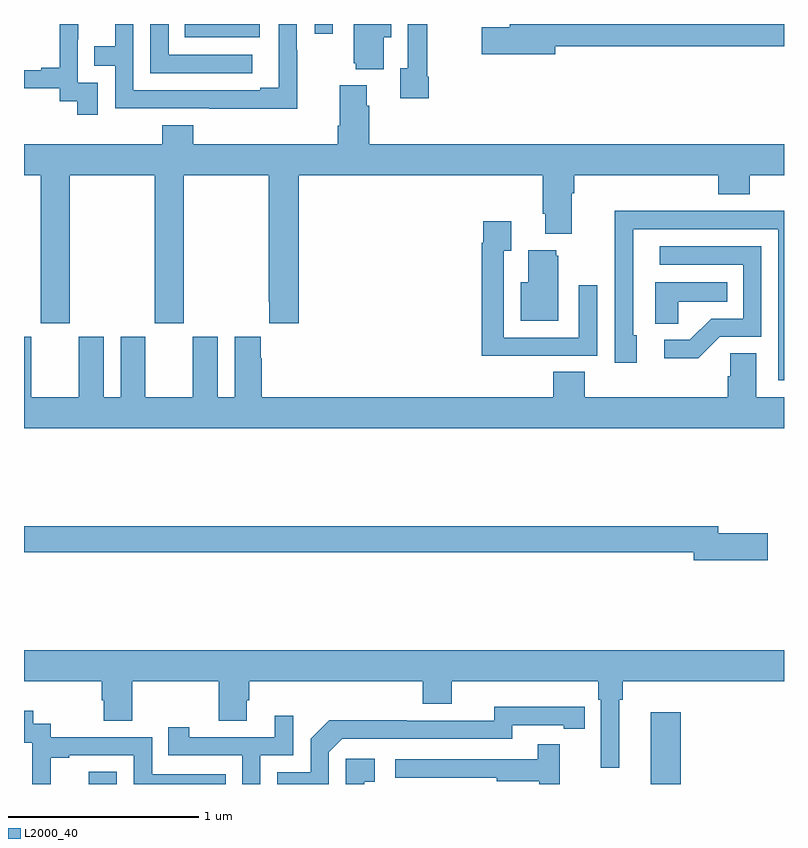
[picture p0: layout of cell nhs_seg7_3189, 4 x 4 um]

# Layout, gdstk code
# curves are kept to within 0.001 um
import gdstk
lib = gdstk.Library(unit=1e-6, precision=1e-09)
def R(c, l, rs):  # rectangles x0, y0, x1, y1
    for r in rs: c.add(gdstk.rectangle(r[:2], r[2:], *l))
def P(c, l, *ps):  # polygons
    for p in ps: c.add(gdstk.Polygon(p, *l))
L2000_40 = (2000, 40)

nhs_seg7_3189 = lib.new_cell('nhs_seg7_3189')
R(nhs_seg7_3189, L2000_40, [(313.341,1076,313.488,1076.065), (316.298,1076,316.457,1076.377), (313.846,1079.93,314.242,1080), (314.529,1079.949,314.625,1080)])
P(nhs_seg7_3189, L2000_40, [(314.893,1079.93),(314.932,1079.93),(314.932,1080),(314.735,1080),(314.735,1079.793),(314.747,1079.793),(314.747,1079.762),(314.893,1079.762)],
  [(313.389,1079.691),(313.284,1079.691),(313.284,1079.921),(313.286,1079.921),(313.286,1080),(313.187,1080),(313.187,1079.77),(313.091,1079.77),(313.091,1079.757),(313,1079.757),(313,1079.661),(313.188,1079.661),(313.188,1079.593),(313.281,1079.593),(313.281,1079.523),(313.389,1079.523)],
  [(314.2,1079.838),(313.761,1079.838),(313.761,1080),(313.665,1080),(313.665,1079.742),(314.2,1079.742)],
  [(314.439,1079.861),(314.436,1079.861),(314.436,1080),(314.34,1080),(314.34,1079.665),(314.243,1079.665),(314.243,1079.652),(313.575,1079.652),(313.575,1080),(313.479,1080),(313.479,1079.882),(313.369,1079.882),(313.369,1079.781),(313.479,1079.781),(313.479,1079.556),(313.975,1079.556),(313.975,1079.555),(314.439,1079.555)],
  [(315.13,1079.722),(315.122,1079.722),(315.122,1080),(315.021,1080),(315.021,1079.766),(314.981,1079.766),(314.981,1079.61),(315.13,1079.61)],
  [(315.796,1079.884),(317,1079.884),(317,1080),(315.557,1080),(315.557,1079.984),(315.408,1079.984),(315.408,1079.842),(315.796,1079.842)],
  [(313.242,1079.204),(313.687,1079.204),(313.687,1078.425),(313.842,1078.425),(313.842,1079.204),(314.287,1079.204),(314.287,1078.537),(314.291,1078.537),(314.291,1078.425),(314.447,1078.425),(314.447,1079.204),(315.731,1079.204),(315.731,1079.002),(315.743,1079.002),(315.743,1078.895),(315.883,1078.895),(315.883,1079.108),(315.896,1079.108),(315.896,1079.204),(316.655,1079.204),(316.655,1079.105),(316.82,1079.105),(316.82,1079.204),(317,1079.204),(317,1079.368),(314.816,1079.368),(314.816,1079.57),(314.803,1079.57),(314.803,1079.677),(314.663,1079.677),(314.663,1079.464),(314.651,1079.464),(314.651,1079.368),(313.892,1079.368),(313.892,1079.467),(313.727,1079.467),(313.727,1079.368),(313,1079.368),(313,1079.204),(313.087,1079.204),(313.087,1078.425),(313.242,1078.425)],
  [(317,1079.016),(316.571,1079.016),(316.571,1079.018),(316.108,1079.018),(316.108,1078.711),(316.11,1078.711),(316.11,1078.218),(316.225,1078.218),(316.225,1078.362),(316.206,1078.362),(316.206,1078.92),(316.971,1078.92),(316.971,1078.125),(317,1078.125)],
  [(315.701,1078.254),(316.017,1078.254),(316.017,1078.624),(315.921,1078.624),(315.921,1078.35),(315.525,1078.35),(315.525,1078.807),(315.565,1078.807),(315.565,1078.963),(315.417,1078.963),(315.417,1078.85),(315.409,1078.85),(315.409,1078.253),(315.701,1078.253)],
  [(316.662,1078.353),(316.881,1078.353),(316.881,1078.83),(316.347,1078.83),(316.347,1078.734),(316.785,1078.734),(316.785,1078.449),(316.616,1078.449),(316.505,1078.338),(316.371,1078.338),(316.371,1078.241),(316.549,1078.241)],
  [(315.811,1078.779),(315.8,1078.779),(315.8,1078.81),(315.653,1078.81),(315.653,1078.642),(315.614,1078.642),(315.614,1078.439),(315.811,1078.439)],
  [(316.443,1078.538),(316.7,1078.538),(316.7,1078.642),(316.322,1078.642),(316.322,1078.423),(316.443,1078.423)],
  [(317,1078.036),(316.855,1078.036),(316.855,1078.268),(316.716,1078.268),(316.716,1078.145),(316.703,1078.145),(316.703,1078.036),(315.95,1078.036),(315.95,1078.169),(315.785,1078.169),(315.785,1078.036),(314.252,1078.036),(314.252,1078.241),(314.245,1078.241),(314.245,1078.354),(314.108,1078.354),(314.108,1078.036),(314.02,1078.036),(314.02,1078.354),(313.889,1078.354),(313.889,1078.036),(313.639,1078.036),(313.639,1078.354),(313.508,1078.354),(313.508,1078.036),(313.42,1078.036),(313.42,1078.354),(313.289,1078.354),(313.289,1078.036),(313.039,1078.036),(313.039,1078.354),(313,1078.354),(313,1077.872),(317,1077.872)],
  [(316.915,1077.32),(316.654,1077.32),(316.654,1077.356),(313,1077.356),(313,1077.22),(316.526,1077.22),(316.526,1077.178),(316.915,1077.178)],
  [(316.132,1076.444),(316.151,1076.444),(316.151,1076.54),(317,1076.54),(317,1076.704),(313,1076.704),(313,1076.54),(313.409,1076.54),(313.409,1076.442),(313.421,1076.442),(313.421,1076.332),(313.569,1076.332),(313.569,1076.54),(314.026,1076.54),(314.026,1076.332),(314.173,1076.332),(314.173,1076.442),(314.186,1076.442),(314.186,1076.54),(315.098,1076.54),(315.098,1076.423),(315.25,1076.423),(315.25,1076.54),(316.022,1076.54),(316.022,1076.444),(316.035,1076.444),(316.035,1076.085),(316.132,1076.085)],
  [(314.604,1076.166),(314.676,1076.238),(315.57,1076.238),(315.57,1076.31),(315.842,1076.31),(315.842,1076.29),(315.95,1076.29),(315.95,1076.406),(315.474,1076.407),(315.474,1076.334),(315.014,1076.334),(315.014,1076.336),(314.606,1076.336),(314.508,1076.238),(314.508,1076.061),(314.334,1076.061),(314.334,1076),(314.604,1076)],
  [(313.142,1076.139),(313.237,1076.139),(313.237,1076.151),(313.578,1076.151),(313.578,1076),(314.063,1076),(314.063,1076.052),(313.674,1076.052),(313.674,1076.247),(313.14,1076.247),(313.14,1076.316),(313.048,1076.316),(313.048,1076.386),(313,1076.386),(313,1076.217),(313.044,1076.217),(313.044,1076),(313.142,1076)],
  [(314.244,1076.151),(314.418,1076.151),(314.418,1076.359),(314.321,1076.359),(314.321,1076.247),(313.87,1076.247),(313.87,1076.299),(313.759,1076.299),(313.759,1076.151),(314.148,1076.151),(314.148,1076),(314.244,1076)],
  [(315.821,1076.209),(315.703,1076.209),(315.703,1076.13),(314.955,1076.13),(314.955,1076.034),(315.487,1076.034),(315.487,1076.014),(315.711,1076.014),(315.711,1076),(315.821,1076)],
  [(314.792,1076.013),(314.845,1076.013),(314.845,1076.134),(314.694,1076.134),(314.694,1076),(314.792,1076)])

lib.write_gds('nhs_seg7_3189.gds')
